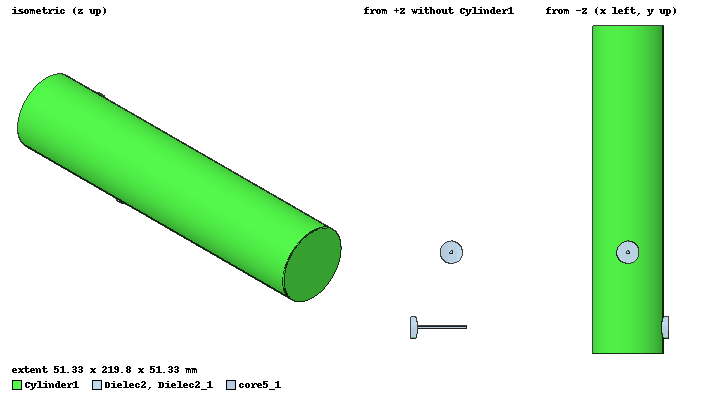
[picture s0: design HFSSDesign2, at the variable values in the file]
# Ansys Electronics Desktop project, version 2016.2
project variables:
  $Pin_length = 10mm
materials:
  vacuum: permittivity=1
  Teflon (tm): permittivity=2.1 dielectric_loss_tangent=0.001
  copper: permeability=0.999991 conductivity=58000000
  pec: conductivity=1e+030

design HFSSDesign2 (HFSS, DrivenModal, model units mm)
options: Calculate_Lossy_Dielectrics
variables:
  Ro = 7.739mm  # optimise 2.5mm..15mm
  t = 0.235611mm
  Ri = 1.037mm  # optimise 0.2mm..1.5mm
  zce = 3.68mm  # optimise 1.75mm..20mm
  ycer = 0.017601meter
  Hc = 33.8mm
  lambda = 0.067082039meter
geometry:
  Cylinder1 [vacuum] = cylinder(axis=Y, base_centre=(0mm, 0mm, 0mm), radius=0.023824072meter, height=(0.02197770609155983*1000*10) mm)
  coordinate_system RelativeCS1 = origin=(30mm, 2.13mm, -6mm) x=(1mm, 0mm, 0mm) y=(0mm, 1mm, 0mm)
  coordinate_system RelativeCS2 = origin=(-30mm, -2.13mm, 6mm) x=(1mm, 0mm, 0mm) y=(0mm, 1mm, 0mm) in RelativeCS1
  Dielec2 [vacuum] = cylinder(axis=Z, base_centre=(0meter, ycer, -0.023824071643967-zce), radius=Ro-t, height=10mm+zce) in RelativeCS2
  core4 = cylinder(axis=Z, base_centre=(0meter, 0meter, -0.023824072meter), radius=Ri, height=6mm) in RelativeCS2
  Cylinder3_3 = core4.copy()
  Dielec2.subtract(Cylinder3_3)
  core4.delete()
  core5 [pec] = cylinder(axis=Z, base_centre=(0meter, ycer, -0.023824071643967-zce), radius=Ri, height=Hc+zce) in RelativeCS2
  core5_1 [pec] = core5.duplicate_around_axis(axis=Y, angle=90deg, total=2) in RelativeCS2
  Dielec2_1 [vacuum] = Dielec2.duplicate_around_axis(axis=Y, angle=90deg, total=2) in RelativeCS2
  Cylinder1_2 = Cylinder1.copy()
  Dielec2_1.subtract(Cylinder1_2)
  Cylinder1_3 = Cylinder1.copy()
  Dielec2.subtract(Cylinder1_3)
  coordinate_system RelativeCS3 = origin=(30mm, 2.13mm, -6mm) x=(1mm, 0mm, 0mm) y=(0mm, 1mm, 0mm) in RelativeCS2
  coordinate_system RelativeCS4 = origin=(-30mm, -2.13mm, 6mm) x=(1mm, 0mm, 0mm) y=(0mm, 1mm, 0mm) in RelativeCS3
  core5_1_1 = core5_1.copy()
  Cylinder1.subtract(core5_1_1)
  core5_3 = core5.copy()
  Dielec2.subtract(core5_3)
  core5_1_3 = core5_1.copy()
  Dielec2_1.subtract(core5_1_3)
  [core5, Dielec2].move(0mm, lambda*3/4, 0mm) in RelativeCS2
  core5_5 = core5.copy()
  Cylinder1.subtract(core5_5)
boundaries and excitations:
  PerfE1: Perfect E Faces=Dielec2.face(1 of 3)
  PerfE2: Perfect E Faces=Dielec2_1.face(1 of 3)
  3: Wave Port Faces=Cylinder1.face(3 of 3) NumModes=1 Modes{Mode1{IntLine{Cylinder1.edge(2 of 2) at 0.25 along -> Cylinder1.edge(2 of 2) at -0.25 along} CharImp=Zpi}}
  2: Wave Port Faces=Dielec2.face(2 of 3) NumModes=1 Modes{Mode1{CharImp=Zpi}}
  1: Wave Port Faces=Dielec2_1.face(2 of 3) NumModes=1 Modes{Mode1{IntLine{Dielec2_1.edge(at (-27.5041, 17.601, 1.037)) at 0.25 along -> Dielec2_1.edge(1 of 2) at -0.25 along} CharImp=Zpi}}
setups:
  Setup1: HfssDriven Frequency=6GHz MaxDeltaS=0.02 MaximumPasses=6 MinimumPasses=1 MinimumConvergedPasses=1 PercentRefinement=30 BasisOrder=1 PortAccuracy=2
    sweep Sweep: 5GHz to 7.5GHz, 35 points; Type=Fast
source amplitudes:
  3:1: 0W 0deg
  2:1: 10W 90deg
  1:1: 10W 0deg
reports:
  XY Plot 1: dB(S(1,1)) vs Freq on Setup1 : Sweep [t=all lambda=all $Pin_length=all Ro=all Ri=all zce=all ycer=all Hc=all]
  XY Plot 2: dB(S(3,1)) vs Freq on Setup1 : Sweep [Ro=all Ri=all zce=all ycer=all Hc=all]
  XY Plot 3: dB(S(3,2)) vs Freq on Setup1 : Sweep [Ro=all Ri=all zce=all ycer=all Hc=all]
  XY Plot 4: dB(S(3,3)) vs Freq on Setup1 : Sweep [Ro=all Ri=all zce=all ycer=all Hc=all]
  XY Plot 5: dB(S(2,2)) vs Freq on Setup1 : Sweep [Ro=all Ri=all zce=all ycer=all Hc=all]
  XY Plot 6: dB(S(1,2)) vs Freq on Setup1 : Sweep [Ro=all Ri=all zce=all ycer=all Hc=all]
  XY Plot 7: dB(S(1,1)) vs Freq on Setup1 : Sweep
  XY Plot 8: dB(S(1,2)) vs Freq on Setup1 : Sweep
  XY Plot 9: dB(S(2,2)) vs Freq on Setup1 : Sweep
  XY Plot 10: dB(S(3,3)) vs Freq on Setup1 : Sweep
